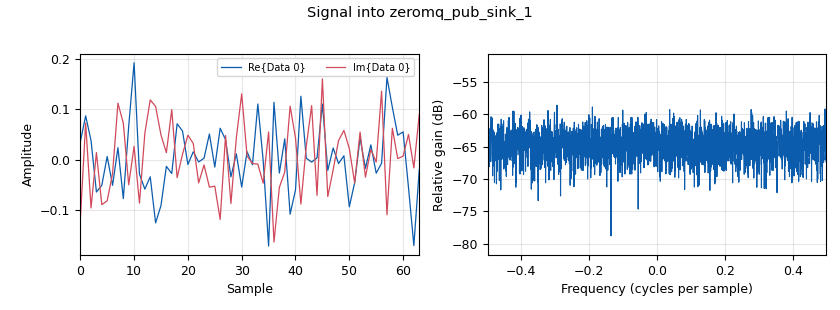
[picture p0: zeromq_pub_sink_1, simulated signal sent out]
options:
  parameters:
    generate_options: no_gui
    id: attackerv
    output_language: python
    title: Attacker with Periodic Cycle
  states: {}

blocks:
- name: jam_angle
  id: variable
  parameters:
    value: '0'
  states: {}
- name: jam_freq_offset
  id: variable
  parameters:
    value: '0'
  states: {}
- name: jam_power
  id: variable
  parameters:
    value: '-20'
  states: {}
- name: jam_type
  id: variable
  parameters:
    value: '0'
  states: {}
- name: samp_rate
  id: variable
  parameters:
    value: '1000000'
  states: {}
- name: analog_noise_source_x_0
  id: analog_noise_source_x
  parameters:
    amp: 10**(jam_power/20.0)
    noise_type: analog.GR_GAUSSIAN
    seed: '0'
    type: complex
  states: {}
- name: analog_sig_source_x_0
  id: analog_sig_source_x
  parameters:
    amp: 10**(jam_power/20.0)
    freq: jam_freq_offset
    offset: '0'
    phase: '0'
    samp_rate: samp_rate
    type: complex
    waveform: analog.GR_COS_WAVE
  states: {}
- name: blocks_selector_0
  id: blocks_selector
  parameters:
    enabled: 'True'
    input_index: int(jam_type)
    num_inputs: '2'
    num_outputs: '1'
    output_index: '0'
    type: complex
  states: {}
- name: qtgui_freq_sink_x_0
  id: qtgui_freq_sink_x
  parameters:
    average: '0.1'
    bw: samp_rate
    fc: '0'
    fftsize: '1024'
    label1: Jammer Spectrum  Broad Bande (Noise)
    label2: Jammer Spectrum   Narrow Bande (CW)
    name: '"Attacker Signal"'
    nconnections: '2'
    type: complex
  states: {state: disabled}
- name: zeromq_pub_sink_1
  id: zeromq_pub_sink
  parameters:
    address: tcp://127.0.0.1:5556
    timeout: '100'
    type: complex
  states: {}

connections:
- [analog_noise_source_x_0, '0', blocks_selector_0, '0']
- [analog_noise_source_x_0, '0', qtgui_freq_sink_x_0, '0']
- [analog_sig_source_x_0, '0', blocks_selector_0, '1']
- [analog_sig_source_x_0, '0', qtgui_freq_sink_x_0, '1']
- [blocks_selector_0, '0', zeromq_pub_sink_1, '0']

metadata:
  file_format: 1
